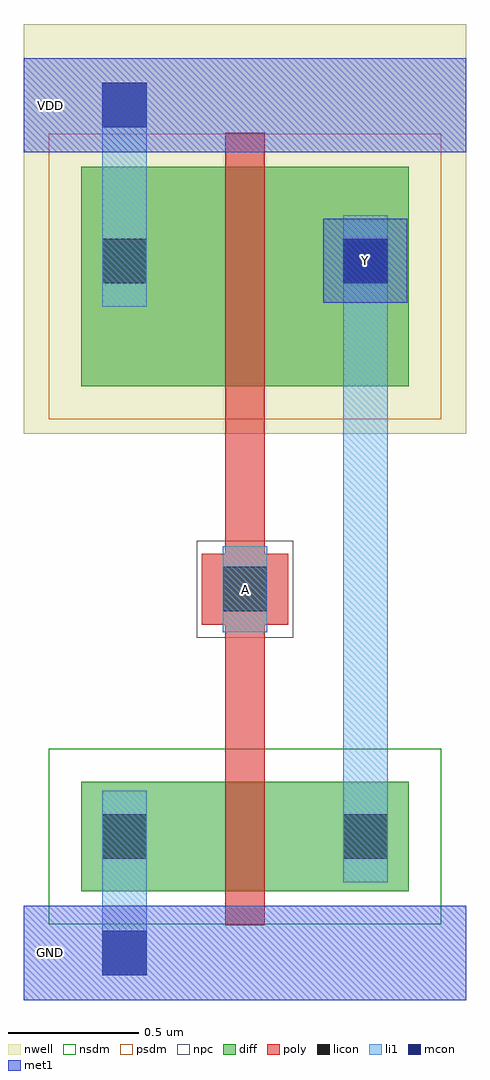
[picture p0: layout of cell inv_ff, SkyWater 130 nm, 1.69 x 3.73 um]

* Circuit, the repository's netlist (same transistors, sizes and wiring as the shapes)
* NGSPICE file created from inv_ff.ext - technology: sky130A

.subckt inv_ff A Y VDD GND
X0 Y A GND VSUBS sky130_fd_pr__nfet_01v8 ad=0.231 pd=1.94 as=0.231 ps=1.94 w=0.42 l=0.15
X1 Y A VDD w_0_397# sky130_fd_pr__pfet_01v8 ad=0.462 pd=2.78 as=0.462 ps=2.78 w=0.84 l=0.15
.ends

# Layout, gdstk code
import gdstk
lib = gdstk.Library(unit=1e-6, precision=1e-09)
def R(c, l, rs):  # rectangles x0, y0, x1, y1
    for r in rs: c.add(gdstk.rectangle(r[:2], r[2:], *l))
nwell = (64, 20)
diff = (65, 20)
poly = (66, 20)
licon = (66, 44)
li1 = (67, 20)
mcon = (67, 44)
met1 = (68, 20)
nsdm = (93, 44)
psdm = (94, 20)
npc = (95, 20)

inv_ff = lib.new_cell('inv_ff')
R(inv_ff, nwell, [(0,1.985,1.69,3.55)])
R(inv_ff, diff, [(0.22,0.235,1.47,0.655), (0.22,2.165,1.47,3.005)])
R(inv_ff, poly, [(0.77,0.105,0.92,1.255), (0.68,1.255,1.01,1.525), (0.77,1.525,0.92,3.135)])
R(inv_ff, licon, [(0.3,0.36,0.47,0.53), (1.22,0.36,1.39,0.53), (0.76,1.305,0.93,1.475), (0.3,2.56,0.47,2.73), (1.22,2.56,1.39,2.73)])
R(inv_ff, li1, [(0.3,-0.085,0.47,0.62), (1.22,0.27,1.39,2.82), (0.76,1.225,0.93,1.555), (0.3,2.47,0.47,3.325)])
R(inv_ff, mcon, [(0.3,-0.085,0.47,0.085), (1.22,2.56,1.39,2.73), (0.3,3.155,0.47,3.325)])
R(inv_ff, met1, [(0,-0.18,1.69,0.18), (1.145,2.485,1.465,2.805), (0,3.06,1.69,3.42)])
R(inv_ff, nsdm, [(0.095,0.11,1.595,0.78)])
R(inv_ff, psdm, [(0.095,2.04,1.595,3.13)])
R(inv_ff, npc, [(0.66,1.205,1.03,1.575)])
inv_ff.add(gdstk.Label('A', (0.845,1.39), layer=67, texttype=5))
inv_ff.add(gdstk.Label('Y', (1.305,2.645), layer=68, texttype=5))
inv_ff.add(gdstk.Label('VDD', (0.1,3.24), layer=68, texttype=5))
inv_ff.add(gdstk.Label('GND', (0.1,0), layer=68, texttype=5))

lib.write_gds('inv_ff.gds')
